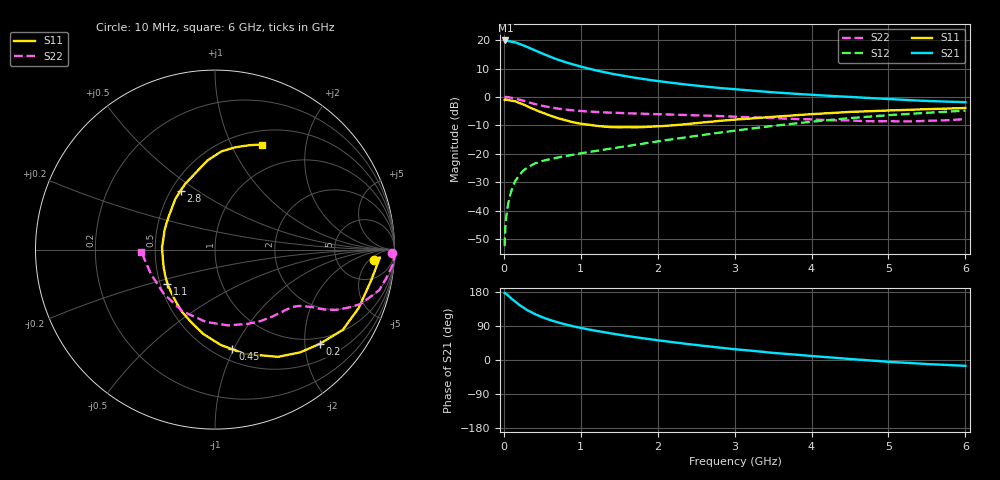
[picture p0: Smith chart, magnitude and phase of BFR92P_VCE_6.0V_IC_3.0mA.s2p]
! Infineon Technologies  Discrete & RF Semiconductors
! BFR92P
! VCE =  6.0 V,  IC =  3.0 mA
! Common Emitter S-Parameters:  Apr 2014
# GHz  S  MA  R  50
!  f  S11  S21  S12  S22
! GHz  MAG  ANG  MAG  ANG  MAG  ANG  MAG  ANG
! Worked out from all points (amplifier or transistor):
!   77 points, 10 MHz to 6 GHz, reference 50 ohm
!   highest |S21| = 19.9 dB at 20 MHz (marker M1)
!   |S21| within 3 dB of that: start of sweep to 363.5 MHz
!   unconditionally stable (mu >= 1): 1.23 GHz to 2.818 GHz
!   at 130 MHz: K = 0.15, MSG = 25.0 dB, |S12| = -30.6 dB
!   at 2.2 GHz: K = 1.07, MAG = 8.3 dB, |S12| = -14.8 dB
!   at 6 GHz: K = 0.86, MSG = 1.5 dB, |S12| = -4.8 dB
!   S11 on the Smith chart (normalised r, x): 10 MHz: 13, -7; 200 MHz: 0.85, -2.34; 450 MHz: 0.61, -0.99; 1.1 GHz: 0.55, -0.23; 2.8 GHz: 0.56, +0.43; 6 GHz: 0.66, +1.32
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0.01  0.887 -3.7  9.634 176.6  0.0024 90.1  0.9849 -1.1
0.02  0.92 -2.7  9.853 176.3  0.0052 89.7  1 -1.9
0.05  0.887 -11.1  9.74 171.1  0.0119 85.0  0.9945 -4.8
0.1  0.8643 -22.1  9.366 161.5  0.0228 77.9  0.9673 -9.5
0.15  0.8409 -32.1  9.126 154.1  0.0338 73.5  0.9424 -13.9
0.2  0.7851 -42.0  8.604 145.3  0.0421 68.4  0.8997 -17.3
0.3  0.6934 -59.5  7.606 132.0  0.0569 60.6  0.8225 -22.9
0.4  0.6031 -74.3  6.653 121.4  0.0677 56.1  0.7547 -26.4
0.45  0.5642 -80.1  6.213 117.4  0.0715 54.8  0.7278 -27.4
0.5  0.5319 -86.6  5.808 112.9  0.0754 53.6  0.7012 -28.5
0.6  0.474 -98.0  5.115 105.6  0.081 51.9  0.6595 -29.8
0.7  0.4251 -108.3  4.552 99.4  0.0864 51.0  0.6264 -30.7
0.9  0.3606 -127.7  3.742 89.0  0.097 50.9  0.5828 -32.7
1.1  0.3264 -144.5  3.16 80.7  0.1081 52.2  0.5575 -34.4
1.5  0.2937 -175.5  2.43 66.7  0.131 54.8  0.5251 -38.9
1.8  0.2957 164.6  2.086 57.6  0.151 56.1  0.5095 -43.1
2.1  0.3111 148.2  1.835 49.6  0.1739 56.7  0.4949 -47.7
2.8  0.3806 120.2  1.443 32.8  0.2363 55.5  0.4626 -61.1
3.1  0.4095 112.0  1.338 26.7  0.2665 53.5  0.4458 -68.7
4.1  0.5091 92.7  1.075 9.0  0.3789 44.4  0.3984 -101.2
5.1  0.5861 77.4  0.908 -5.9  0.4896 30.7  0.3744 -143.4
6  0.6417 65.8  0.812 -15.4  0.5767 17.5  0.41 -178.0
